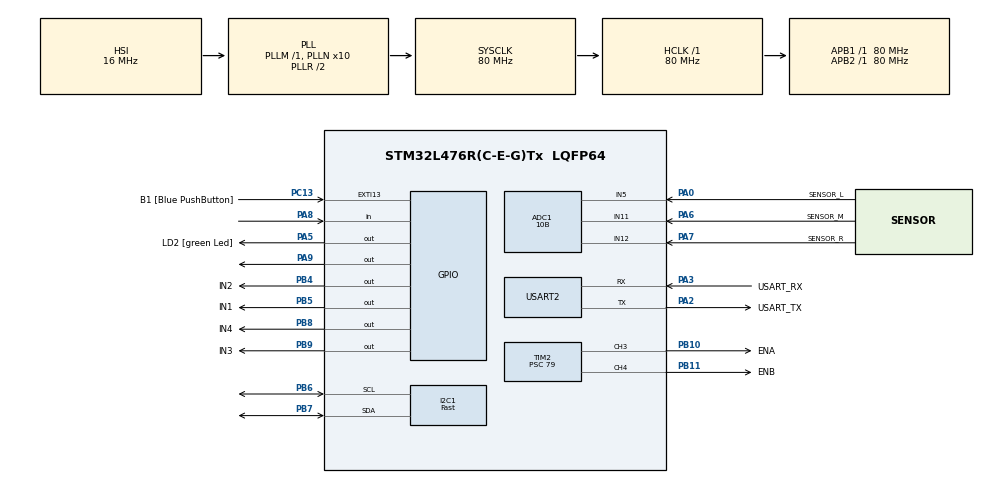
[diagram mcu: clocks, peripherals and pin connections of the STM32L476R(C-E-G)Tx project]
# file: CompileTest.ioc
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ADC1.Channel-0\#ChannelRegularConversion=ADC_CHANNEL_5
ADC1.Channel-1\#ChannelRegularConversion=ADC_CHANNEL_11
ADC1.Channel-2\#ChannelRegularConversion=ADC_CHANNEL_12
ADC1.ContinuousConvMode=ENABLE
ADC1.DMAContinuousRequests=DISABLE
ADC1.NbrOfConversion=3
ADC1.NbrOfConversionFlag=1
ADC1.OffsetNumber-0\#ChannelRegularConversion=ADC_OFFSET_NONE
ADC1.OffsetNumber-1\#ChannelRegularConversion=ADC_OFFSET_NONE
ADC1.OffsetNumber-2\#ChannelRegularConversion=ADC_OFFSET_NONE
ADC1.Rank-0\#ChannelRegularConversion=1
ADC1.Rank-1\#ChannelRegularConversion=2
ADC1.Rank-2\#ChannelRegularConversion=3
ADC1.Resolution=ADC_RESOLUTION_10B
ADC1.SamplingTime-0\#ChannelRegularConversion=ADC_SAMPLETIME_247CYCLES_5
ADC1.SamplingTime-1\#ChannelRegularConversion=ADC_SAMPLETIME_247CYCLES_5
ADC1.SamplingTime-2\#ChannelRegularConversion=ADC_SAMPLETIME_247CYCLES_5
ADC1.master=1
I2C1.I2C_Speed_Mode=I2C_Fast
I2C1.Timing=0x00F12981
Mcu.Family=STM32L4
Mcu.Name=STM32L476R(C-E-G)Tx
Mcu.Package=LQFP64
NVIC.ADC1_2_IRQn=true\:1\:0\:true\:false\:true\:true\:true\:true
NVIC.PriorityGroup=NVIC_PRIORITYGROUP_4
NVIC.TIM2_IRQn=true\:0\:0\:false\:false\:true\:true\:true\:true
PA0.GPIO_Label=SENSOR_L
PA0.Signal=ADCx_IN5
PA13\ (JTMS-SWDIO).GPIO_Label=TMS
PA13\ (JTMS-SWDIO).Mode=Serial_Wire
PA13\ (JTMS-SWDIO).Signal=SYS_JTMS-SWDIO
PA14\ (JTCK-SWCLK).GPIO_Label=TCK
PA14\ (JTCK-SWCLK).Mode=Serial_Wire
PA14\ (JTCK-SWCLK).Signal=SYS_JTCK-SWCLK
PA2.GPIO_Label=USART_TX
PA2.GPIO_Mode=GPIO_MODE_AF_PP
PA2.GPIO_PuPd=GPIO_NOPULL
PA2.GPIO_Speed=GPIO_SPEED_FREQ_VERY_HIGH
PA2.Mode=Asynchronous
PA2.Signal=USART2_TX
PA3.GPIO_Label=USART_RX
PA3.GPIO_Mode=GPIO_MODE_AF_PP
PA3.GPIO_PuPd=GPIO_NOPULL
PA3.GPIO_Speed=GPIO_SPEED_FREQ_VERY_HIGH
PA3.Mode=Asynchronous
PA3.Signal=USART2_RX
PA5.GPIO_Label=LD2 [green Led]
PA5.GPIO_ModeDefaultOutputPP=GPIO_MODE_OUTPUT_PP
PA5.GPIO_PuPd=GPIO_NOPULL
PA5.GPIO_Speed=GPIO_SPEED_FREQ_LOW
PA5.Signal=GPIO_Output
PA6.GPIO_Label=SENSOR_M
PA6.Signal=ADCx_IN11
PA7.GPIO_Label=SENSOR_R
PA7.Signal=ADCx_IN12
PA8.Signal=GPIO_Input
PA9.Signal=GPIO_Output
PB10.GPIO_Label=ENA
PB10.Signal=S_TIM2_CH3
PB11.GPIO_Label=ENB
PB11.Signal=S_TIM2_CH4
PB3\ (JTDO-TRACESWO).GPIO_Label=SWO
PB3\ (JTDO-TRACESWO).Signal=SYS_JTDO-SWO
PB4\ (NJTRST).GPIO_Label=IN2
PB4\ (NJTRST).Signal=GPIO_Output
PB5.GPIO_Label=IN1
PB5.Signal=GPIO_Output
PB6.Mode=I2C
PB6.Signal=I2C1_SCL
PB7.Mode=I2C
PB7.Signal=I2C1_SDA
PB8.GPIO_Label=IN4
PB8.Signal=GPIO_Output
PB9.GPIO_Label=IN3
PB9.Signal=GPIO_Output
PC13.GPIO_Label=B1 [Blue PushButton]
PC13.GPIO_ModeDefaultEXTI=GPIO_MODE_IT_FALLING
PC13.GPIO_PuPd=GPIO_NOPULL
PC13.Signal=GPXTI13
PC14-OSC32_IN\ (PC14).Mode=LSE-External-Oscillator
PC14-OSC32_IN\ (PC14).Signal=RCC_OSC32_IN
PC15-OSC32_OUT\ (PC15).Mode=LSE-External-Oscillator
PC15-OSC32_OUT\ (PC15).Signal=RCC_OSC32_OUT
PH0-OSC_IN\ (PH0).Mode=HSE-External-Oscillator
PH0-OSC_IN\ (PH0).Signal=RCC_OSC_IN
PH1-OSC_OUT\ (PH1).Mode=HSE-External-Oscillator
PH1-OSC_OUT\ (PH1).Signal=RCC_OSC_OUT
ProjectManager.HeapSize=0x200
ProjectManager.StackSize=0x400
ProjectManager.TargetToolchain=STM32CubeIDE
RCC.ADCFreq_Value=64000000
RCC.AHBFreq_Value=80000000
RCC.APB1Freq_Value=80000000
RCC.APB1TimFreq_Value=80000000
RCC.APB2Freq_Value=80000000
RCC.APB2TimFreq_Value=80000000
RCC.CortexFreq_Value=80000000
RCC.HCLKFreq_Value=80000000
RCC.HSE_VALUE=8000000
RCC.HSI_VALUE=16000000
RCC.MSI_VALUE=4000000
RCC.PLLN=10
RCC.PLLSourceVirtual=RCC_PLLSOURCE_HSI
RCC.PREFETCH_ENABLE=1
RCC.SYSCLKFreq_VALUE=80000000
RCC.SYSCLKSource=RCC_SYSCLKSOURCE_PLLCLK
RCC.USBFreq_Value=64000000
RCC.VCOOutputFreq_Value=160000000
SH.ADCx_IN11.0=ADC1_IN11,IN11-Single-Ended
SH.ADCx_IN12.0=ADC1_IN12,IN12-Single-Ended
SH.ADCx_IN5.0=ADC1_IN5,IN5-Single-Ended
SH.S_TIM2_CH3.0=TIM2_CH3,PWM Generation3 CH3
SH.S_TIM2_CH4.0=TIM2_CH4,PWM Generation4 CH4
TIM1.Prescaler=79
TIM2.Channel-PWM\ Generation3\ CH3=TIM_CHANNEL_3
TIM2.Channel-PWM\ Generation4\ CH4=TIM_CHANNEL_4
TIM2.Period=1999
TIM2.Prescaler=79
TIM2.TIM_MasterOutputTrigger=TIM_TRGO_UPDATE
USART2.VirtualMode-Asynchronous=VM_ASYNC
VP_TIM1_VS_ClockSourceINT.Mode=Internal
board=NUCLEO-L476RG

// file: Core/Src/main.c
/* USER CODE BEGIN Header */
/**
  ******************************************************************************
  * @file           : main.c
  * @brief          : Main program body
  ******************************************************************************
  * @attention
  *
  * Copyright (c) 2024 STMicroelectronics.
  * All rights reserved.
  *
  * This software is licensed under terms that can be found in the LICENSE file
  * in the root directory of this software component.
  * If no LICENSE file comes with this software, it is provided AS-IS.
  *
  ******************************************************************************
  */
/* USER CODE END Header */
#include "main.h"

/* USER CODE BEGIN Includes */
#include <stdio.h>
#include <string.h>
/* USER CODE END Includes */

ADC_HandleTypeDef hadc1;

I2C_HandleTypeDef hi2c1;

TIM_HandleTypeDef htim1;
TIM_HandleTypeDef htim2;

UART_HandleTypeDef huart2;

/* USER CODE BEGIN PV */

//For the Radar
#define TRIG_PIN GPIO_PIN_9
#define TRIG_PORT GPIOA
#define ECHO_PIN GPIO_PIN_8
#define ECHO_PORT GPIOA
// Initialize variables for the radar
uint32_t pMillis;
uint32_t Value1 = 0;
uint32_t Value2 = 0;
uint16_t Distance = 0;

/* USER CODE END PV */

void SystemClock_Config(void);
static void MX_GPIO_Init(void);
static void MX_USART2_UART_Init(void);
static void MX_ADC1_Init(void);
static void MX_I2C1_Init(void);
static void MX_TIM1_Init(void);
static void MX_TIM2_Init(void);
/* USER CODE BEGIN PFP */
ADC_ChannelConfTypeDef sConfig;

/* USER CODE END PFP */

/* USER CODE BEGIN 0 */
int __io_putchar(int ch)
{
  HAL_UART_Transmit(&huart2, (uint8_t *)&ch, 1, HAL_MAX_DELAY);
  return ch;
}

// I couldn't configure the ioc file properly with DMAs, so I'm gonna just manually initialise those each time, here's the functions to do so :
// note: they're copied, slightly modified and pasted from lines 382-409 down this file
void ADC_Select_CH1(void){
	/** Configure Regular Channel
	  */
	sConfig.Channel = ADC_CHANNEL_5;
	sConfig.Rank = 1;
	sConfig.SamplingTime = ADC_SAMPLETIME_247CYCLES_5;
	sConfig.SingleDiff = ADC_SINGLE_ENDED;
	sConfig.OffsetNumber = ADC_OFFSET_NONE;
	sConfig.Offset = 0;
	if (HAL_ADC_ConfigChannel(&hadc1, &sConfig) != HAL_OK)
	{
	  Error_Handler();
	}
}
void ADC_Select_CH2(void){

	  /** Configure Regular Channel
	  */
	  sConfig.Channel = ADC_CHANNEL_11;
	  sConfig.Rank = 1;
	  sConfig.SamplingTime = ADC_SAMPLETIME_247CYCLES_5;
	  sConfig.SingleDiff = ADC_SINGLE_ENDED;
	  sConfig.OffsetNumber = ADC_OFFSET_NONE;
	  sConfig.Offset = 0;
	  if (HAL_ADC_ConfigChannel(&hadc1, &sConfig) != HAL_OK)
	  {
	    Error_Handler();
	  }
}

void ADC_Select_CH3(void){
	/** Configure Regular Channel
		  */
		  sConfig.Channel = ADC_CHANNEL_12;
		  sConfig.Rank = 1;
		  sConfig.SamplingTime = ADC_SAMPLETIME_247CYCLES_5;
		  sConfig.SingleDiff = ADC_SINGLE_ENDED;
		  sConfig.OffsetNumber = ADC_OFFSET_NONE;
		  sConfig.Offset = 0;
		  if (HAL_ADC_ConfigChannel(&hadc1, &sConfig) != HAL_OK)
		  {
		    Error_Handler();
		  }
}

uint16_t ADC_VAL[3]; // Array that stores values of those three line traking sensors

/* USER CODE END 0 */

int main(void)
{

  /* MCU Configuration--------------------------------------------------------*/

  /* Reset of all peripherals, Initializes the Flash interface and the Systick. */
  HAL_Init();

  /* Configure the system clock */
  SystemClock_Config();

  /* Initialize all configured peripherals */
  MX_GPIO_Init();
  MX_USART2_UART_Init();
  MX_ADC1_Init();
  MX_I2C1_Init();
  MX_TIM1_Init();
  MX_TIM2_Init();
  /* USER CODE BEGIN 2 */
  HAL_TIM_Base_Start(&htim1);
  HAL_GPIO_WritePin(TRIG_PORT, TRIG_PIN, GPIO_PIN_RESET); //pull the TRIG pin low
  HAL_ADCEx_Calibration_Start(&hadc1, ADC_SINGLE_ENDED); //for sensors calibration

  HAL_TIM_PWM_Start(&htim2, TIM_CHANNEL_3); //PB10 TIM2 CH3
  HAL_TIM_PWM_Start(&htim2, TIM_CHANNEL_4); //PB11 TIM2 CH4

  int threshold = 500;  //the threshold for line tracking
  //Stop the motor
  HAL_GPIO_WritePin(GPIOB, GPIO_PIN_4, 0);
  HAL_GPIO_WritePin(GPIOB, GPIO_PIN_5, 0);
  HAL_GPIO_WritePin(GPIOB, GPIO_PIN_8, 0);
  HAL_GPIO_WritePin(GPIOB, GPIO_PIN_9, 0);

  int count_time_init =0;
  int count_time_actu =0;
  /* USER CODE END 2 */

  /* Infinite loop */
  /* USER CODE BEGIN WHILE */

  while (1)
  {
	  // The code for the radar, it prints the distance
	  HAL_GPIO_WritePin(TRIG_PORT, TRIG_PIN, GPIO_PIN_SET);  // pull the TRIG pin HIGH
	  __HAL_TIM_SET_COUNTER(&htim1, 0);
	  while (__HAL_TIM_GET_COUNTER (&htim1) < 10);  // wait for 10 us
	  HAL_GPIO_WritePin(TRIG_PORT, TRIG_PIN, GPIO_PIN_RESET);  // pull the TRIG pin low

	  pMillis = HAL_GetTick(); // to avoid infinite while loop
	  while (!(HAL_GPIO_ReadPin (ECHO_PORT, ECHO_PIN)) && pMillis + 10 >  HAL_GetTick());// wait for the echo pin to go high
	  Value1 = __HAL_TIM_GET_COUNTER (&htim1);

	  pMillis = HAL_GetTick();
	  while ((HAL_GPIO_ReadPin (ECHO_PORT, ECHO_PIN)) && pMillis + 50 > HAL_GetTick()); // wait for the echo pin to go low
    Value2 = __HAL_TIM_GET_COUNTER (&htim1);

	  Distance = (Value2-Value1)* 0.034/2;
	  //printf( "Distance = %d cm\r\n", (int)Distance);

	  //Lign tracker part
	  ADC_Select_CH1();
	  HAL_ADC_Start(&hadc1);
	  HAL_ADC_PollForConversion(&hadc1, 1000);
	  ADC_VAL[0] = HAL_ADC_GetValue(&hadc1);
	  HAL_ADC_Stop(&hadc1);

	  ADC_Select_CH2();
	  HAL_ADC_Start(&hadc1);
	  HAL_ADC_PollForConversion(&hadc1, 1000);
	  ADC_VAL[1] = HAL_ADC_GetValue(&hadc1);
	  HAL_ADC_Stop(&hadc1);

	  ADC_Select_CH3();
	  HAL_ADC_Start(&hadc1);
	  HAL_ADC_PollForConversion(&hadc1, 1000);
	  ADC_VAL[2] = HAL_ADC_GetValue(&hadc1);
	  HAL_ADC_Stop(&hadc1);
	  //printf("Left : %d, Mid: %d, Right: %d \r\n", ADC_VAL[0], ADC_VAL[1], ADC_VAL[2]);

	  if(((ADC_VAL[0]<threshold) &&(ADC_VAL[1]>threshold) && (ADC_VAL[2]<threshold))&&(Distance>10)){
		  //Set the rotation direction forward
		  HAL_GPIO_WritePin(GPIOB, GPIO_PIN_4, 1);
		  HAL_GPIO_WritePin(GPIOB, GPIO_PIN_5, 0);
		  HAL_GPIO_WritePin(GPIOB, GPIO_PIN_8, 1);
		  HAL_GPIO_WritePin(GPIOB, GPIO_PIN_9, 0);
		  // Set the speed
		  __HAL_TIM_SET_COMPARE(&htim2,TIM_CHANNEL_3, 900);
		  __HAL_TIM_SET_COMPARE(&htim2,TIM_CHANNEL_4, 900);
		  count_time_actu =HAL_GetTick();
		  count_time_init =HAL_GetTick();
	  }else if((ADC_VAL[0]>threshold)&&(Distance>10)){
		  //Stop the left motor
		  HAL_GPIO_WritePin(GPIOB, GPIO_PIN_4, 1);
		  HAL_GPIO_WritePin(GPIOB, GPIO_PIN_5, 0);
		  //right motor rotate foward
		  HAL_GPIO_WritePin(GPIOB, GPIO_PIN_8, 0);
		  HAL_GPIO_WritePin(GPIOB, GPIO_PIN_9, 0); //modif
		  // Set the speed

		  __HAL_TIM_SET_COMPARE(&htim2,TIM_CHANNEL_4, 750);
		  count_time_actu =HAL_GetTick();
		  count_time_init =HAL_GetTick();

	  }else if((ADC_VAL[2]>threshold)&&(Distance>10)){
		  //left motor rotate foward
		  HAL_GPIO_WritePin(GPIOB, GPIO_PIN_4, 0);  //modif
		  HAL_GPIO_WritePin(GPIOB, GPIO_PIN_5, 0);
		  //Stop the right motor
		  HAL_GPIO_WritePin(GPIOB, GPIO_PIN_8, 1);
		  HAL_GPIO_WritePin(GPIOB, GPIO_PIN_9, 0);
		  // Set the speed
		  __HAL_TIM_SET_COMPARE(&htim2,TIM_CHANNEL_3,750);

		  count_time_actu =HAL_GetTick();
		  count_time_init =HAL_GetTick();

	  }
	  if(Distance<10){
		  //Stop both motors
		  HAL_GPIO_WritePin(GPIOB, GPIO_PIN_4, 0);
		  HAL_GPIO_WritePin(GPIOB, GPIO_PIN_5, 0);
		  HAL_GPIO_WritePin(GPIOB, GPIO_PIN_8, 0);
		  HAL_GPIO_WritePin(GPIOB, GPIO_PIN_9, 0);
		  count_time_actu =HAL_GetTick();
		  count_time_init =HAL_GetTick();
	  }
	  if(((ADC_VAL[0]<threshold) &&(ADC_VAL[1]<threshold) && (ADC_VAL[2]<threshold))){
	  		  //Set the rotation direction forward
		  	  count_time_actu = HAL_GetTick();
	  		  //if((count_time_actu-count_time_init) !=0){count_time_init =count_time_actu;}
	  		  //printf("count_time_init-HAL_GetTick() = %d \r\n",(count_time_actu-count_time_init));
	  		  if (HAL_GetTick()-count_time_init >800 ){
	  			//Stop both motors
	  			  	  	  //printf("jarrrettee \r\n");
	  					  HAL_GPIO_WritePin(GPIOB, GPIO_PIN_4, 0);
	  					  HAL_GPIO_WritePin(GPIOB, GPIO_PIN_5, 0);
	  					  HAL_GPIO_WritePin(GPIOB, GPIO_PIN_8, 0);
	  					  HAL_GPIO_WritePin(GPIOB, GPIO_PIN_9, 0);
	  					  count_time_init = count_time_actu;
	  		  }
	  }

	  HAL_Delay(50); //If I don't add this the detection with ultrasound might cause pb with relatively long ditances
    // The sound needs time to travel, here each iteration is 20ms, might be too quick, so HAL_Delay here works just fine.

    /* USER CODE END WHILE */

  }
}

void SystemClock_Config(void)
{
  RCC_OscInitTypeDef RCC_OscInitStruct = {0};
  RCC_ClkInitTypeDef RCC_ClkInitStruct = {0};

  /** Configure the main internal regulator output voltage
  */
  if (HAL_PWREx_ControlVoltageScaling(PWR_REGULATOR_VOLTAGE_SCALE1) != HAL_OK)
  {
    Error_Handler();
  }

  /** Initializes the RCC Oscillators according to the specified parameters
  * in the RCC_OscInitTypeDef structure.
  */
  RCC_OscInitStruct.OscillatorType = RCC_OSCILLATORTYPE_HSI;
  RCC_OscInitStruct.HSIState = RCC_HSI_ON;
  RCC_OscInitStruct.HSICalibrationValue = RCC_HSICALIBRATION_DEFAULT;
  RCC_OscInitStruct.PLL.PLLState = RCC_PLL_ON;
  RCC_OscInitStruct.PLL.PLLSource = RCC_PLLSOURCE_HSI;
  RCC_OscInitStruct.PLL.PLLM = 1;
  RCC_OscInitStruct.PLL.PLLN = 10;
  RCC_OscInitStruct.PLL.PLLP = RCC_PLLP_DIV7;
  RCC_OscInitStruct.PLL.PLLQ = RCC_PLLQ_DIV2;
  RCC_OscInitStruct.PLL.PLLR = RCC_PLLR_DIV2;
  if (HAL_RCC_OscConfig(&RCC_OscInitStruct) != HAL_OK)
  {
    Error_Handler();
  }

  /** Initializes the CPU, AHB and APB buses clocks
  */
  RCC_ClkInitStruct.ClockType = RCC_CLOCKTYPE_HCLK|RCC_CLOCKTYPE_SYSCLK
                              |RCC_CLOCKTYPE_PCLK1|RCC_CLOCKTYPE_PCLK2;
  RCC_ClkInitStruct.SYSCLKSource = RCC_SYSCLKSOURCE_PLLCLK;
  RCC_ClkInitStruct.AHBCLKDivider = RCC_SYSCLK_DIV1;
  RCC_ClkInitStruct.APB1CLKDivider = RCC_HCLK_DIV1;
  RCC_ClkInitStruct.APB2CLKDivider = RCC_HCLK_DIV1;

  if (HAL_RCC_ClockConfig(&RCC_ClkInitStruct, FLASH_LATENCY_4) != HAL_OK)
  {
    Error_Handler();
  }
}

static void MX_ADC1_Init(void)
{

  ADC_MultiModeTypeDef multimode = {0};
  ADC_ChannelConfTypeDef sConfig = {0};

  /** Common config
  */
  hadc1.Instance = ADC1;
  hadc1.Init.ClockPrescaler = ADC_CLOCK_ASYNC_DIV1;
  hadc1.Init.Resolution = ADC_RESOLUTION_10B;
  hadc1.Init.DataAlign = ADC_DATAALIGN_RIGHT;
  hadc1.Init.ScanConvMode = ADC_SCAN_ENABLE;
  hadc1.Init.EOCSelection = ADC_EOC_SINGLE_CONV;
  hadc1.Init.LowPowerAutoWait = DISABLE;
  hadc1.Init.ContinuousConvMode = ENABLE;
  hadc1.Init.NbrOfConversion = 3;
  hadc1.Init.DiscontinuousConvMode = DISABLE;
  hadc1.Init.ExternalTrigConv = ADC_SOFTWARE_START;
  hadc1.Init.ExternalTrigConvEdge = ADC_EXTERNALTRIGCONVEDGE_NONE;
  hadc1.Init.DMAContinuousRequests = DISABLE;
  hadc1.Init.Overrun = ADC_OVR_DATA_PRESERVED;
  hadc1.Init.OversamplingMode = DISABLE;
  if (HAL_ADC_Init(&hadc1) != HAL_OK)
  {
    Error_Handler();
  }

  /** Configure the ADC multi-mode
  */
  multimode.Mode = ADC_MODE_INDEPENDENT;
  if (HAL_ADCEx_MultiModeConfigChannel(&hadc1, &multimode) != HAL_OK)
  {
    Error_Handler();
  }

  /** Configure Regular Channel
  */
  sConfig.Channel = ADC_CHANNEL_5;
  sConfig.Rank = ADC_REGULAR_RANK_1;
  sConfig.SamplingTime = ADC_SAMPLETIME_247CYCLES_5;
  sConfig.SingleDiff = ADC_SINGLE_ENDED;
  sConfig.OffsetNumber = ADC_OFFSET_NONE;
  sConfig.Offset = 0;
  if (HAL_ADC_ConfigChannel(&hadc1, &sConfig) != HAL_OK)
  {
    Error_Handler();
  }

  /** Configure Regular Channel
  */
  sConfig.Channel = ADC_CHANNEL_11;
  sConfig.Rank = ADC_REGULAR_RANK_2;
  if (HAL_ADC_ConfigChannel(&hadc1, &sConfig) != HAL_OK)
  {
    Error_Handler();
  }

  /** Configure Regular Channel
  */
  sConfig.Channel = ADC_CHANNEL_12;
  sConfig.Rank = ADC_REGULAR_RANK_3;
  if (HAL_ADC_ConfigChannel(&hadc1, &sConfig) != HAL_OK)
  {
    Error_Handler();
  }

}

static void MX_I2C1_Init(void)
{

  hi2c1.Instance = I2C1;
  hi2c1.Init.Timing = 0x00F12981;
  hi2c1.Init.OwnAddress1 = 0;
  hi2c1.Init.AddressingMode = I2C_ADDRESSINGMODE_7BIT;
  hi2c1.Init.DualAddressMode = I2C_DUALADDRESS_DISABLE;
  hi2c1.Init.OwnAddress2 = 0;
  hi2c1.Init.OwnAddress2Masks = I2C_OA2_NOMASK;
  hi2c1.Init.GeneralCallMode = I2C_GENERALCALL_DISABLE;
  hi2c1.Init.NoStretchMode = I2C_NOSTRETCH_DISABLE;
  if (HAL_I2C_Init(&hi2c1) != HAL_OK)
  {
    Error_Handler();
  }

  /** Configure Analogue filter
  */
  if (HAL_I2CEx_ConfigAnalogFilter(&hi2c1, I2C_ANALOGFILTER_ENABLE) != HAL_OK)
  {
    Error_Handler();
  }

  /** Configure Digital filter
  */
  if (HAL_I2CEx_ConfigDigitalFilter(&hi2c1, 0) != HAL_OK)
  {
    Error_Handler();
  }

}

static void MX_TIM1_Init(void)
{

  TIM_ClockConfigTypeDef sClockSourceConfig = {0};
  TIM_MasterConfigTypeDef sMasterConfig = {0};

  htim1.Instance = TIM1;
  htim1.Init.Prescaler = 79;
  htim1.Init.CounterMode = TIM_COUNTERMODE_UP;
  htim1.Init.Period = 65535;
  htim1.Init.ClockDivision = TIM_CLOCKDIVISION_DIV1;
  htim1.Init.RepetitionCounter = 0;
  htim1.Init.AutoReloadPreload = TIM_AUTORELOAD_PRELOAD_DISABLE;
  if (HAL_TIM_Base_Init(&htim1) != HAL_OK)
  {
    Error_Handler();
  }
  sClockSourceConfig.ClockSource = TIM_CLOCKSOURCE_INTERNAL;
  if (HAL_TIM_ConfigClockSource(&htim1, &sClockSourceConfig) != HAL_OK)
  {
    Error_Handler();
  }
  sMasterConfig.MasterOutputTrigger = TIM_TRGO_RESET;
  sMasterConfig.MasterOutputTrigger2 = TIM_TRGO2_RESET;
  sMasterConfig.MasterSlaveMode = TIM_MASTERSLAVEMODE_DISABLE;
  if (HAL_TIMEx_MasterConfigSynchronization(&htim1, &sMasterConfig) != HAL_OK)
  {
    Error_Handler();
  }

}

static void MX_TIM2_Init(void)
{

  TIM_MasterConfigTypeDef sMasterConfig = {0};
  TIM_OC_InitTypeDef sConfigOC = {0};

  htim2.Instance = TIM2;
  htim2.Init.Prescaler = 79;
  htim2.Init.CounterMode = TIM_COUNTERMODE_UP;
  htim2.Init.Period = 1999;
  htim2.Init.ClockDivision = TIM_CLOCKDIVISION_DIV1;
  htim2.Init.AutoReloadPreload = TIM_AUTORELOAD_PRELOAD_DISABLE;
  if (HAL_TIM_PWM_Init(&htim2) != HAL_OK)
  {
    Error_Handler();
  }
  sMasterConfig.MasterOutputTrigger = TIM_TRGO_UPDATE;
  sMasterConfig.MasterSlaveMode = TIM_MASTERSLAVEMODE_DISABLE;
  if (HAL_TIMEx_MasterConfigSynchronization(&htim2, &sMasterConfig) != HAL_OK)
  {
    Error_Handler();
  }
  sConfigOC.OCMode = TIM_OCMODE_PWM1;
  sConfigOC.Pulse = 0;
  sConfigOC.OCPolarity = TIM_OCPOLARITY_HIGH;
  sConfigOC.OCFastMode = TIM_OCFAST_DISABLE;
  if (HAL_TIM_PWM_ConfigChannel(&htim2, &sConfigOC, TIM_CHANNEL_3) != HAL_OK)
  {
    Error_Handler();
  }
  if (HAL_TIM_PWM_ConfigChannel(&htim2, &sConfigOC, TIM_CHANNEL_4) != HAL_OK)
  {
    Error_Handler();
  }
  HAL_TIM_MspPostInit(&htim2);

}

static void MX_USART2_UART_Init(void)
{

  huart2.Instance = USART2;
  huart2.Init.BaudRate = 115200;
  huart2.Init.WordLength = UART_WORDLENGTH_8B;
  huart2.Init.StopBits = UART_STOPBITS_1;
  huart2.Init.Parity = UART_PARITY_NONE;
  huart2.Init.Mode = UART_MODE_TX_RX;
  huart2.Init.HwFlowCtl = UART_HWCONTROL_NONE;
  huart2.Init.OverSampling = UART_OVERSAMPLING_16;
  huart2.Init.OneBitSampling = UART_ONE_BIT_SAMPLE_DISABLE;
  huart2.AdvancedInit.AdvFeatureInit = UART_ADVFEATURE_NO_INIT;
  if (HAL_UART_Init(&huart2) != HAL_OK)
  {
    Error_Handler();
  }

}

static void MX_GPIO_Init(void)
{
  GPIO_InitTypeDef GPIO_InitStruct = {0};

  /* GPIO Ports Clock Enable */
  __HAL_RCC_GPIOC_CLK_ENABLE();
  __HAL_RCC_GPIOH_CLK_ENABLE();
  __HAL_RCC_GPIOA_CLK_ENABLE();
  __HAL_RCC_GPIOB_CLK_ENABLE();

  /*Configure GPIO pin Output Level */
  HAL_GPIO_WritePin(GPIOA, LD2_Pin|GPIO_PIN_9, GPIO_PIN_RESET);

  /*Configure GPIO pin Output Level */
  HAL_GPIO_WritePin(GPIOB, IN2_Pin|IN1_Pin|IN4_Pin|IN3_Pin, GPIO_PIN_RESET);

  /*Configure GPIO pin : B1_Pin */
  GPIO_InitStruct.Pin = B1_Pin;
  GPIO_InitStruct.Mode = GPIO_MODE_IT_FALLING;
  GPIO_InitStruct.Pull = GPIO_NOPULL;
  HAL_GPIO_Init(B1_GPIO_Port, &GPIO_InitStruct);

  /*Configure GPIO pins : LD2_Pin PA9 */
  GPIO_InitStruct.Pin = LD2_Pin|GPIO_PIN_9;
  GPIO_InitStruct.Mode = GPIO_MODE_OUTPUT_PP;
  GPIO_InitStruct.Pull = GPIO_NOPULL;
  GPIO_InitStruct.Speed = GPIO_SPEED_FREQ_LOW;
  HAL_GPIO_Init(GPIOA, &GPIO_InitStruct);

  /*Configure GPIO pin : PA8 */
  GPIO_InitStruct.Pin = GPIO_PIN_8;
  GPIO_InitStruct.Mode = GPIO_MODE_INPUT;
  GPIO_InitStruct.Pull = GPIO_NOPULL;
  HAL_GPIO_Init(GPIOA, &GPIO_InitStruct);

  /*Configure GPIO pins : IN2_Pin IN1_Pin IN4_Pin IN3_Pin */
  GPIO_InitStruct.Pin = IN2_Pin|IN1_Pin|IN4_Pin|IN3_Pin;
  GPIO_InitStruct.Mode = GPIO_MODE_OUTPUT_PP;
  GPIO_InitStruct.Pull = GPIO_NOPULL;
  GPIO_InitStruct.Speed = GPIO_SPEED_FREQ_LOW;
  HAL_GPIO_Init(GPIOB, &GPIO_InitStruct);

}

void Error_Handler(void)
{
  __disable_irq();
  while (1)
  {
  }
}
